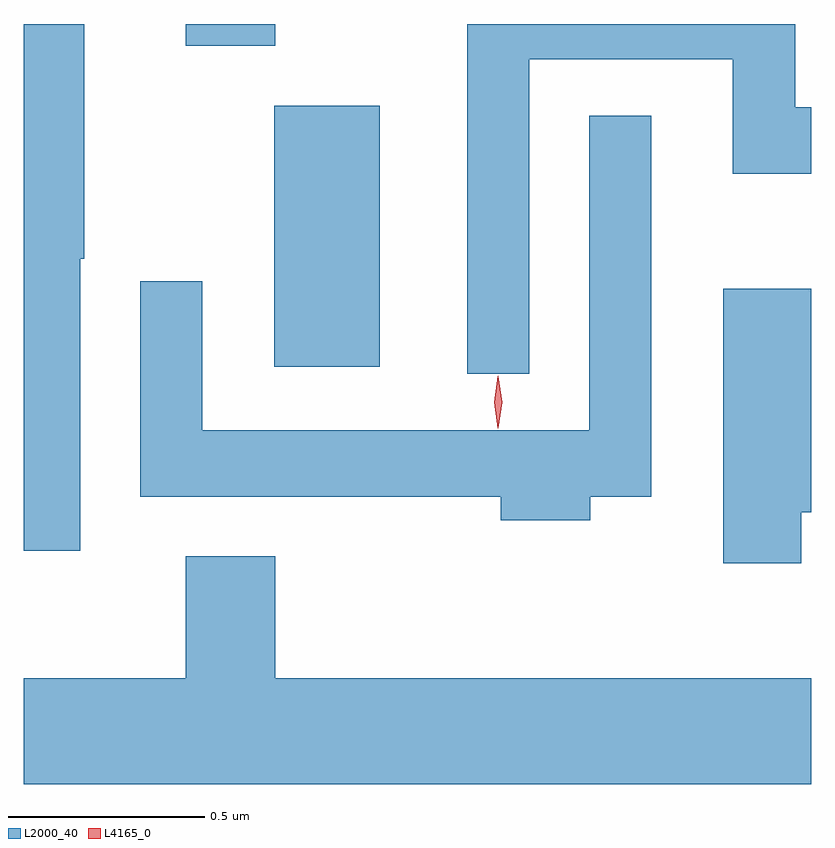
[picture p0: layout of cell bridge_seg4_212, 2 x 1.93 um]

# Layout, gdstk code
import gdstk
lib = gdstk.Library(unit=1e-6, precision=1e-09)
def R(c, l, rs):  # rectangles x0, y0, x1, y1
    for r in rs: c.add(gdstk.rectangle(r[:2], r[2:], *l))
def P(c, l, *ps):  # polygons
    for p in ps: c.add(gdstk.Polygon(p, *l))
L2000_40 = (2000, 40)
L4165_0 = (4165, 0)

bridge_seg4_212 = lib.new_cell('bridge_seg4_212')
R(bridge_seg4_212, L2000_40, [(979.686,1269.156,979.954,1269.819), (979.461,1269.971,979.689,1270.026)])
P(bridge_seg4_212, L2000_40, [(980.334,1269.936),(980.851,1269.936),(980.851,1269.646),(981.05,1269.646),(981.05,1269.814),(981.009,1269.814),(981.009,1270.026),(980.176,1270.026),(980.176,1269.138),(980.334,1269.138)],
  [(979.194,1269.43),(979.204,1269.43),(979.204,1270.026),(979.05,1270.026),(979.05,1268.688),(979.194,1268.688)],
  [(980.489,1268.826),(980.644,1268.826),(980.644,1269.793),(980.486,1269.793),(980.486,1268.994),(979.504,1268.994),(979.504,1269.373),(979.346,1269.373),(979.346,1268.826),(980.261,1268.826),(980.261,1268.766),(980.489,1268.766)],
  [(981.024,1268.786),(981.05,1268.786),(981.05,1269.354),(980.826,1269.354),(980.826,1268.656),(981.024,1268.656)],
  [(981.05,1268.364),(979.689,1268.364),(979.689,1268.674),(979.461,1268.674),(979.461,1268.364),(979.05,1268.364),(979.05,1268.096),(981.05,1268.096)])
P(bridge_seg4_212, L4165_0, [(980.255,1268.999),(980.254,1269),(980.245,1269.066),(980.254,1269.132),(980.255,1269.133),(980.255,1269.132),(980.265,1269.066),(980.255,1269)])

lib.write_gds('bridge_seg4_212.gds')
